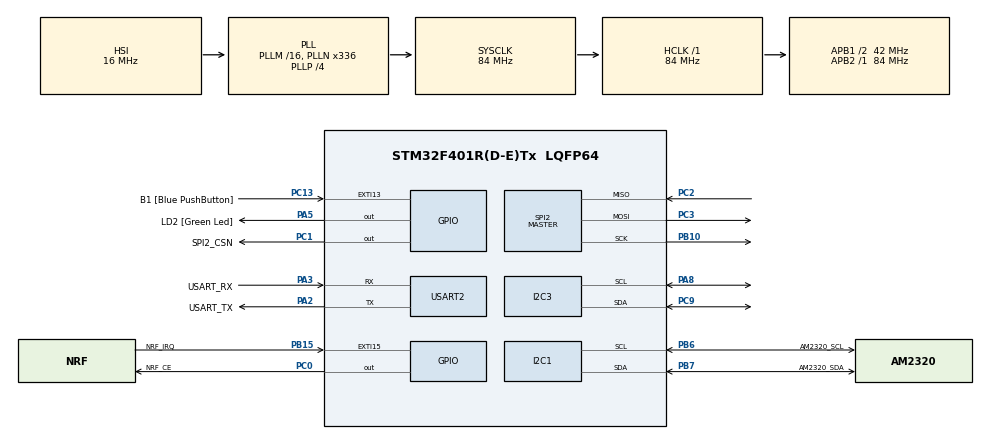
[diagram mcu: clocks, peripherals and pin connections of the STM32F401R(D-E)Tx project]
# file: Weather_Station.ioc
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Mcu.Family=STM32F4
Mcu.Name=STM32F401R(D-E)Tx
Mcu.Package=LQFP64
NVIC.PriorityGroup=NVIC_PRIORITYGROUP_0
PA13.GPIO_Label=TMS
PA13.Mode=Serial_Wire
PA13.Signal=SYS_JTMS-SWDIO
PA14.GPIO_Label=TCK
PA14.Mode=Serial_Wire
PA14.Signal=SYS_JTCK-SWCLK
PA2.GPIO_Label=USART_TX
PA2.GPIO_Mode=GPIO_MODE_AF_PP
PA2.GPIO_PuPd=GPIO_NOPULL
PA2.GPIO_Speed=GPIO_SPEED_FREQ_LOW
PA2.Mode=Asynchronous
PA2.Signal=USART2_TX
PA3.GPIO_Label=USART_RX
PA3.GPIO_Mode=GPIO_MODE_AF_PP
PA3.GPIO_PuPd=GPIO_NOPULL
PA3.GPIO_Speed=GPIO_SPEED_FREQ_LOW
PA3.Mode=Asynchronous
PA3.Signal=USART2_RX
PA5.GPIO_Label=LD2 [Green Led]
PA5.GPIO_Mode=GPIO_MODE_OUTPUT_PP
PA5.GPIO_PuPd=GPIO_NOPULL
PA5.GPIO_Speed=GPIO_SPEED_FREQ_LOW
PA5.Signal=GPIO_Output
PA8.Mode=I2C
PA8.Signal=I2C3_SCL
PB10.Mode=Full_Duplex_Master
PB10.Signal=SPI2_SCK
PB15.GPIO_Label=NRF_IRQ
PB15.Signal=GPXTI15
PB3.GPIO_Label=SWO
PB3.Signal=SYS_JTDO-SWO
PB6.GPIO_Label=AM2320_SCL
PB6.Mode=I2C
PB6.Signal=I2C1_SCL
PB7.GPIO_Label=AM2320_SDA
PB7.Mode=I2C
PB7.Signal=I2C1_SDA
PC0.GPIO_Label=NRF_CE
PC0.Signal=GPIO_Output
PC1.GPIO_Label=SPI2_CSN
PC1.Signal=GPIO_Output
PC13-ANTI_TAMP.GPIO_Label=B1 [Blue PushButton]
PC13-ANTI_TAMP.GPIO_ModeDefaultEXTI=GPIO_MODE_IT_FALLING
PC13-ANTI_TAMP.GPIO_PuPd=GPIO_NOPULL
PC13-ANTI_TAMP.Signal=GPXTI13
PC14-OSC32_IN.Mode=LSE-External-Oscillator
PC14-OSC32_IN.Signal=RCC_OSC32_IN
PC15-OSC32_OUT.Mode=LSE-External-Oscillator
PC15-OSC32_OUT.Signal=RCC_OSC32_OUT
PC2.Mode=Full_Duplex_Master
PC2.Signal=SPI2_MISO
PC3.Mode=Full_Duplex_Master
PC3.Signal=SPI2_MOSI
PC9.Mode=I2C
PC9.Signal=I2C3_SDA
PH0\ -\ OSC_IN.Mode=HSE-External-Clock-Source
PH0\ -\ OSC_IN.Signal=RCC_OSC_IN
PH1\ -\ OSC_OUT.Mode=HSE-External-Clock-Source
PH1\ -\ OSC_OUT.Signal=RCC_OSC_OUT
ProjectManager.HeapSize=0x200
ProjectManager.StackSize=0x400
ProjectManager.TargetToolchain=STM32CubeIDE
RCC.48MHZClocksFreq_Value=48000000
RCC.AHBFreq_Value=84000000
RCC.APB1CLKDivider=RCC_HCLK_DIV2
RCC.APB1Freq_Value=42000000
RCC.APB1TimFreq_Value=84000000
RCC.APB2Freq_Value=84000000
RCC.APB2TimFreq_Value=84000000
RCC.CortexFreq_Value=84000000
RCC.HCLKFreq_Value=84000000
RCC.HSE_VALUE=8000000
RCC.HSI_VALUE=16000000
RCC.PLLN=336
RCC.PLLP=RCC_PLLP_DIV4
RCC.PLLQ=7
RCC.SYSCLKFreq_VALUE=84000000
RCC.SYSCLKSource=RCC_SYSCLKSOURCE_PLLCLK
RCC.VCOOutputFreq_Value=336000000
SPI2.Direction=SPI_DIRECTION_2LINES
SPI2.Mode=SPI_MODE_MASTER
SPI2.VirtualType=VM_MASTER
USART2.VirtualMode=VM_ASYNC
board=NUCLEO-F401RE

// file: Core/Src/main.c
/* USER CODE BEGIN Header */
/**
  ******************************************************************************
  * @file           : main.c
  * @brief          : Main program body
  ******************************************************************************
  * @attention
  *
  * Copyright (c) 2022 STMicroelectronics.
  * All rights reserved.
  *
  * This software is licensed under terms that can be found in the LICENSE file
  * in the root directory of this software component.
  * If no LICENSE file comes with this software, it is provided AS-IS.
  *
  ******************************************************************************
  */
/* USER CODE END Header */
#include "main.h"

/* USER CODE BEGIN Includes */
#include "am2320.h"
#include "bmp280.h"
#include "nrf/nrf.h"
/* USER CODE END Includes */

I2C_HandleTypeDef hi2c1;
I2C_HandleTypeDef hi2c3;

SPI_HandleTypeDef hspi2;

UART_HandleTypeDef huart2;

/* USER CODE BEGIN PV */
int32_t bmp280_temp;
uint32_t bmp280_press;
uint8_t nrfInterrupt = 0;
/* USER CODE END PV */

void SystemClock_Config(void);
static void MX_GPIO_Init(void);
static void MX_USART2_UART_Init(void);
static void MX_I2C1_Init(void);
static void MX_I2C3_Init(void);
static void MX_SPI2_Init(void);

/* USER CODE BEGIN 0 */
int __io_putchar(int ch)
{
  if (ch == '\n') {
    __io_putchar('\r');
  }

  HAL_UART_Transmit(&huart2, (uint8_t*)&ch, 1, HAL_MAX_DELAY);

  return 1;
}

typedef enum {
    nRF24_TX_ERROR  = (uint8_t)0x00, // Unknown error
    nRF24_TX_SUCCESS,                // Packet has been transmitted successfully
    nRF24_TX_TIMEOUT,                // It was timeout during packet transmit
    nRF24_TX_MAXRT                   // Transmit failed with maximum auto retransmit count
} nRF24_TXResult;

static nRF24_TXResult NRF_Transmit(uint8_t* data, uint8_t length);
/* USER CODE END 0 */

int main(void)
{

  /* MCU Configuration--------------------------------------------------------*/

  /* Reset of all peripherals, Initializes the Flash interface and the Systick. */
  HAL_Init();

  /* Configure the system clock */
  SystemClock_Config();

  /* Initialize all configured peripherals */
  MX_GPIO_Init();
  MX_USART2_UART_Init();
  MX_I2C1_Init();
  MX_I2C3_Init();
  MX_SPI2_Init();
  /* USER CODE BEGIN 2 */

//  AM2320_HandleTypeDef am2320 = am2320_init(&hi2c1, AM2320_ADDRESS);

  BMP280_HandleTypedef bmp280;
  bmp280.i2c_handle_ = &hi2c3;
  bmp280_init_force_mode(&bmp280);

  uint8_t status = 0;

  // initialize nrf handle
  NRF_HandleTypedef nrf;
  if(!NRF_Init(&nrf)){
	  Error_Handler();
  }
  // pipe configuration
  // address will be clocked from last to first
  // need to clock same address for rx and tx pipe for transmitter
  static uint8_t nrf_addr[] = {0x69, 0x21, 0x37};
  if(!NRF_SET_PipeAddress(RX_PIPE_0, nrf_addr)){
	  return NRF_ERROR;
  }
  if(!NRF_SET_PipeAddress(TX_PIPE, nrf_addr)){
	  return NRF_ERROR;
  }

  // preapre pipe RX 0 for auto ack
  if(!NRF_SET_PipeRX(RX_PIPE_0, AA_ON, 0)){
	  return NRF_ERROR;
  }

  // prepare pipe TX
  if(!NRF_SET_PipeTX(RX_PIPE_0, AA_ON)){
	  return NRF_ERROR;
  }

  // set mode to transmitter
  if(!NRF_SET_Mode(TX)){
	  return NRF_ERROR;
  }

  // turn transmitter on and wait for at least 1.5 ms
  if(!NRF_SET_PowerMode(PWR_UP)){
	  return NRF_ERROR;
  }

  HAL_Delay(2);
  NRF_PrintConfig();
  // test payload
  uint8_t payload[] = {'S','E','N','D','_','O','K'};

  /* USER CODE END 2 */

  /* Infinite loop */
  /* USER CODE BEGIN WHILE */
  while (1)
  {
	  //temporarily not used
//	  am2320_read_temperature_and_humidity(&am2320);
//	  printf("Temperature: %d.%d\nHumidity: %d.%d\n",
//			  am2320.last_temperature /10, am2320.last_temperature % 10,
//			  am2320.last_humidity / 10, am2320.last_humidity % 10);
//	  bmp280_force_measurement(&bmp280);
//	  bmp280_get_measurements(&bmp280, &bmp280_press, &bmp280_temp);
//	  printf("Temperature: %d.%d\nPressure: %.3f\n", (int)(bmp280_temp/100), (int)(bmp280_temp%100),
//			  (float)bmp280_press/25600.);
//	  printf("Read data from register CONFIG: %d\n", data[0]);
	  int timeout = 10000;
//	  printf("Payload: SEND OK\n");
	  nRF24_TXResult tx_res = NRF_Transmit(payload, (uint8_t)7);
	  switch (tx_res) {
		  case nRF24_TX_SUCCESS:
			  printf("OK\n");
			  break;
		  case nRF24_TX_TIMEOUT:
			  printf("TIMEOUT\n");
			  break;
		  case nRF24_TX_MAXRT:
			  printf("MAX RETRANSMIT\n");
			  NRF_ResetPlos();
			  NRF_FlushTXFifo();
			  NRF_ReadRegs(NRF_REG_STATUS, &status, 1);
			  printf("STATUS: %d\n", status);
			  break;
		  default:
			  printf("ERROR\n");
			  break;
	  }
	  HAL_Delay(5000);
//	  printf("Waiting for interrupt...\n");
//	  while(!nrfInterrupt && timeout){
//		  HAL_Delay(1);
//		  timeout--;
//	  }
//	  if(!timeout) printf("Timed out!\n");
//	  else printf("Transmission successful!\n");

    /* USER CODE END WHILE */

  }
}

void SystemClock_Config(void)
{
  RCC_OscInitTypeDef RCC_OscInitStruct = {0};
  RCC_ClkInitTypeDef RCC_ClkInitStruct = {0};

  /** Configure the main internal regulator output voltage
  */
  __HAL_RCC_PWR_CLK_ENABLE();
  __HAL_PWR_VOLTAGESCALING_CONFIG(PWR_REGULATOR_VOLTAGE_SCALE2);

  /** Initializes the RCC Oscillators according to the specified parameters
  * in the RCC_OscInitTypeDef structure.
  */
  RCC_OscInitStruct.OscillatorType = RCC_OSCILLATORTYPE_HSI;
  RCC_OscInitStruct.HSIState = RCC_HSI_ON;
  RCC_OscInitStruct.HSICalibrationValue = RCC_HSICALIBRATION_DEFAULT;
  RCC_OscInitStruct.PLL.PLLState = RCC_PLL_ON;
  RCC_OscInitStruct.PLL.PLLSource = RCC_PLLSOURCE_HSI;
  RCC_OscInitStruct.PLL.PLLM = 16;
  RCC_OscInitStruct.PLL.PLLN = 336;
  RCC_OscInitStruct.PLL.PLLP = RCC_PLLP_DIV4;
  RCC_OscInitStruct.PLL.PLLQ = 7;
  if (HAL_RCC_OscConfig(&RCC_OscInitStruct) != HAL_OK)
  {
    Error_Handler();
  }

  /** Initializes the CPU, AHB and APB buses clocks
  */
  RCC_ClkInitStruct.ClockType = RCC_CLOCKTYPE_HCLK|RCC_CLOCKTYPE_SYSCLK
                              |RCC_CLOCKTYPE_PCLK1|RCC_CLOCKTYPE_PCLK2;
  RCC_ClkInitStruct.SYSCLKSource = RCC_SYSCLKSOURCE_PLLCLK;
  RCC_ClkInitStruct.AHBCLKDivider = RCC_SYSCLK_DIV1;
  RCC_ClkInitStruct.APB1CLKDivider = RCC_HCLK_DIV2;
  RCC_ClkInitStruct.APB2CLKDivider = RCC_HCLK_DIV1;

  if (HAL_RCC_ClockConfig(&RCC_ClkInitStruct, FLASH_LATENCY_2) != HAL_OK)
  {
    Error_Handler();
  }
}

static void MX_I2C1_Init(void)
{

  hi2c1.Instance = I2C1;
  hi2c1.Init.ClockSpeed = 100000;
  hi2c1.Init.DutyCycle = I2C_DUTYCYCLE_2;
  hi2c1.Init.OwnAddress1 = 0;
  hi2c1.Init.AddressingMode = I2C_ADDRESSINGMODE_7BIT;
  hi2c1.Init.DualAddressMode = I2C_DUALADDRESS_DISABLE;
  hi2c1.Init.OwnAddress2 = 0;
  hi2c1.Init.GeneralCallMode = I2C_GENERALCALL_DISABLE;
  hi2c1.Init.NoStretchMode = I2C_NOSTRETCH_DISABLE;
  if (HAL_I2C_Init(&hi2c1) != HAL_OK)
  {
    Error_Handler();
  }

}

static void MX_I2C3_Init(void)
{

  hi2c3.Instance = I2C3;
  hi2c3.Init.ClockSpeed = 100000;
  hi2c3.Init.DutyCycle = I2C_DUTYCYCLE_2;
  hi2c3.Init.OwnAddress1 = 0;
  hi2c3.Init.AddressingMode = I2C_ADDRESSINGMODE_7BIT;
  hi2c3.Init.DualAddressMode = I2C_DUALADDRESS_DISABLE;
  hi2c3.Init.OwnAddress2 = 0;
  hi2c3.Init.GeneralCallMode = I2C_GENERALCALL_DISABLE;
  hi2c3.Init.NoStretchMode = I2C_NOSTRETCH_DISABLE;
  if (HAL_I2C_Init(&hi2c3) != HAL_OK)
  {
    Error_Handler();
  }

}

static void MX_SPI2_Init(void)
{

  /* SPI2 parameter configuration*/
  hspi2.Instance = SPI2;
  hspi2.Init.Mode = SPI_MODE_MASTER;
  hspi2.Init.Direction = SPI_DIRECTION_2LINES;
  hspi2.Init.DataSize = SPI_DATASIZE_8BIT;
  hspi2.Init.CLKPolarity = SPI_POLARITY_LOW;
  hspi2.Init.CLKPhase = SPI_PHASE_1EDGE;
  hspi2.Init.NSS = SPI_NSS_SOFT;
  hspi2.Init.BaudRatePrescaler = SPI_BAUDRATEPRESCALER_16;
  hspi2.Init.FirstBit = SPI_FIRSTBIT_MSB;
  hspi2.Init.TIMode = SPI_TIMODE_DISABLE;
  hspi2.Init.CRCCalculation = SPI_CRCCALCULATION_DISABLE;
  hspi2.Init.CRCPolynomial = 10;
  if (HAL_SPI_Init(&hspi2) != HAL_OK)
  {
    Error_Handler();
  }

}

static void MX_USART2_UART_Init(void)
{

  huart2.Instance = USART2;
  huart2.Init.BaudRate = 115200;
  huart2.Init.WordLength = UART_WORDLENGTH_8B;
  huart2.Init.StopBits = UART_STOPBITS_1;
  huart2.Init.Parity = UART_PARITY_NONE;
  huart2.Init.Mode = UART_MODE_TX_RX;
  huart2.Init.HwFlowCtl = UART_HWCONTROL_NONE;
  huart2.Init.OverSampling = UART_OVERSAMPLING_16;
  if (HAL_UART_Init(&huart2) != HAL_OK)
  {
    Error_Handler();
  }

}

static void MX_GPIO_Init(void)
{
  GPIO_InitTypeDef GPIO_InitStruct = {0};

  /* GPIO Ports Clock Enable */
  __HAL_RCC_GPIOC_CLK_ENABLE();
  __HAL_RCC_GPIOH_CLK_ENABLE();
  __HAL_RCC_GPIOA_CLK_ENABLE();
  __HAL_RCC_GPIOB_CLK_ENABLE();

  /*Configure GPIO pin Output Level */
  HAL_GPIO_WritePin(GPIOC, NRF_CE_Pin|SPI2_CSN_Pin, GPIO_PIN_RESET);

  /*Configure GPIO pin Output Level */
  HAL_GPIO_WritePin(LD2_GPIO_Port, LD2_Pin, GPIO_PIN_RESET);

  /*Configure GPIO pin : B1_Pin */
  GPIO_InitStruct.Pin = B1_Pin;
  GPIO_InitStruct.Mode = GPIO_MODE_IT_FALLING;
  GPIO_InitStruct.Pull = GPIO_NOPULL;
  HAL_GPIO_Init(B1_GPIO_Port, &GPIO_InitStruct);

  /*Configure GPIO pins : NRF_CE_Pin SPI2_CSN_Pin */
  GPIO_InitStruct.Pin = NRF_CE_Pin|SPI2_CSN_Pin;
  GPIO_InitStruct.Mode = GPIO_MODE_OUTPUT_PP;
  GPIO_InitStruct.Pull = GPIO_NOPULL;
  GPIO_InitStruct.Speed = GPIO_SPEED_FREQ_LOW;
  HAL_GPIO_Init(GPIOC, &GPIO_InitStruct);

  /*Configure GPIO pin : LD2_Pin */
  GPIO_InitStruct.Pin = LD2_Pin;
  GPIO_InitStruct.Mode = GPIO_MODE_OUTPUT_PP;
  GPIO_InitStruct.Pull = GPIO_NOPULL;
  GPIO_InitStruct.Speed = GPIO_SPEED_FREQ_LOW;
  HAL_GPIO_Init(LD2_GPIO_Port, &GPIO_InitStruct);

  /*Configure GPIO pin : NRF_IRQ_Pin */
  GPIO_InitStruct.Pin = NRF_IRQ_Pin;
  GPIO_InitStruct.Mode = GPIO_MODE_IT_RISING;
  GPIO_InitStruct.Pull = GPIO_NOPULL;
  HAL_GPIO_Init(NRF_IRQ_GPIO_Port, &GPIO_InitStruct);

  /* EXTI interrupt init*/
  HAL_NVIC_SetPriority(EXTI15_10_IRQn, 0, 0);
  HAL_NVIC_EnableIRQ(EXTI15_10_IRQn);

}

/* USER CODE BEGIN 4 */
void HAL_GPIO_EXTI_Callback(uint16_t GPIO_Pin){
	if(GPIO_Pin == NRF_IRQ_Pin){
		// if interrupt comes from IRQ pin, then set flag
		nrfInterrupt = 1;
	}
}

static nRF24_TXResult NRF_Transmit(uint8_t* data, uint8_t length){
	uint8_t status = 0;
	uint32_t wait = 0xFFFF;
	NRF_CE_SET_LOW;

	// write tx payload
	if(!NRF_WriteTxPayload(data, length)){
		return NRF_ERROR;
	}

	NRF_CE_SET_HIGH;

	do{
		NRF_ReadRegs(NRF_REG_STATUS, &status, 1);
		if (status & (NRF_MASK_TX_DS | NRF_MASK_MAX_RT)) {
			break;
		}
	}while(wait--);

	//deassert ce pin
	NRF_CE_SET_LOW;

	if(!wait){
		//timeout
		return NRF_ERROR;
	}

	printf("Status inside of transmit function: %d\n", status);

	// Clear pending IRQ flags
	NRF_ClearIRQFlags();

	if (status & NRF_MASK_MAX_RT) {
		// Auto retransmit counter exceeds the programmed maximum limit (FIFO is not removed)
		return nRF24_TX_MAXRT;
	}

	if (status & NRF_MASK_TX_DS) {
		// Successful transmission
		return nRF24_TX_SUCCESS;
	}

	// Some banana happens, a payload remains in the TX FIFO, flush it
	NRF_FlushTXFifo();

	return nRF24_TX_ERROR;
}
/* USER CODE END 4 */

void Error_Handler(void)
{
  __disable_irq();
  while (1)
  {
  }
}
